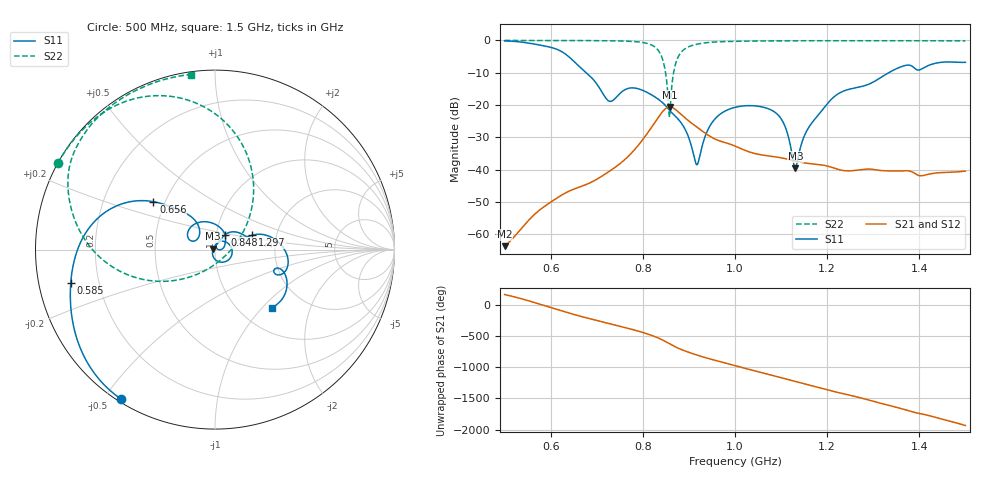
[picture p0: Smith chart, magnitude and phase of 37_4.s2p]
! TOUCHSTONE file generated by CST MICROWAVE STUDIO
! Date and time: Wed Oct 28 19:20:33 2020
! Project name: Scenario_1_Circular_Tissue_out_of_Line.cst
! Parameters = {dy1=278.276; L_HA=400; MT=2.54; Rad_Dielectric=30; Rad_Lower=7.3; Rad_Upper=30; a_HA=580; a_WG=246; b_HA=500; b_WG=121; c_HA=0; c_WG=187; d_feed=85; dx1=693; h_feed=15; h_lower=18; h_upper=40}
! Header version: 2018
! Port assignment regex: !\s*Touchstone port\s*([0-9]+)\s*=\s*(CST MWS port|CST DS port)\s*([0-9]+|Zmin|Zmax)\s*\(\"(.*)\"\)(\s*mode\s*([0-9]+))?.*
! Touchstone port assignment:
! Touchstone port 1 = CST MWS port 1 ("")
! Touchstone port 2 = CST MWS port 2 ("")
# GHz S DB R 50
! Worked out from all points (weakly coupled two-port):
!   1001 points, 500 MHz to 1.5 GHz, reference 50 ohm
!   highest |S21| = -20.59 dB at 858 MHz (marker M1); lowest = -63.7 dB at 500 MHz (marker M2)
!   lowest |S11| = -39.5 dB at 1.131 GHz (marker M3), VSWR 1.02, Z = 49 + j0.434 ohm
!   |S11| at or under -10 dB: 677.1 MHz to 1.333 GHz (656.4 MHz wide, 65.3 % of centre)
!   |S22| runs from -23.7 to 0.0 dB; largest |S21 - S12| = 1.1e-05
!   S11 on the Smith chart (normalised r, x): 500 MHz: 0.01, -0.55; 585 MHz: 0.10, -0.11; 656 MHz: 0.43, +0.28; 848 MHz: 1.10, +0.18; 1.297 GHz: 1.49, +0.25; 1.5 GHz: 1.39, -1.15
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0.5  -0.15 -122.3  -63.71 172.1  -63.71 172.1  -0.01 151.1
0.585  -1.67 -166.9  -51.55 -4.1  -51.55 -4.1  -0.02 145.2
0.628  -3.82 161.0  -47.55 -99.1  -47.55 -99.1  -0.03 141.9
0.656  -7.24 142.1  -45.74 -160.2  -45.74 -160.2  -0.04 139.4
0.667  -8.72 137.6  -45.17 177.4  -45.17 177.4  -0.04 138.4
0.727  -18.81 142.2  -40.56 64.7  -40.56 64.7  -0.10 131.3
0.793  -15.10 120.1  -31.95 -62.5  -31.95 -62.5  -0.51 115.8
0.834  -18.25 74.0  -23.74 -169.3  -23.74 -169.3  -3.19 83.5
0.848  -19.99 55.8  -21.27 139.8  -21.27 139.8  -8.89 53.6
0.858  -21.66 44.4  -20.59 98.6  -20.59 98.6  -23.73 -57.1
0.877  -24.43 24.2  -22.14 27.5  -22.14 27.5  -5.02 -168.8
0.917  -38.49 33.9  -26.80 -80.8  -26.80 -80.8  -1.18 159.2
0.95  -25.48 57.5  -30.05 -152.9  -30.05 -152.9  -0.54 149.1
1  -20.72 5.6  -32.70 106.1  -32.70 106.1  -0.28 140.2
1.092  -22.86 -71.6  -36.15 -71.2  -36.15 -71.2  -0.13 130.4
1.11  -27.15 -100.9  -36.65 -107.3  -36.65 -107.3  -0.12 128.8
1.131  -39.54 155.2  -37.35 -148.3  -37.35 -148.3  -0.11 127.1
1.167  -25.49 63.0  -38.22 144.3  -38.22 144.3  -0.10 124.2
1.222  -16.70 42.7  -39.86 38.0  -39.86 38.0  -0.08 120.0
1.297  -13.11 21.2  -39.89 -100.2  -39.89 -100.2  -0.09 114.3
1.334  -9.96 12.9  -40.40 -171.4  -40.40 -171.4  -0.09 111.5
1.5  -6.78 -45.7  -40.47 -134.9  -40.47 -134.9  -0.13 97.9
